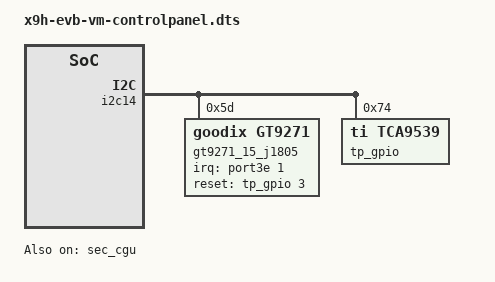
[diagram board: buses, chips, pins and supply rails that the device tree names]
/dts-v1/;

#include "x9-vm.dtsi"
#include "display-xen.dtsi"
#include "clk-xen.dtsi"
#include "lcd-timings-xen.dtsi"
#include "x9-gpu.dtsi"
#include "x9-import.dtsi"
#include "./x9-reset-common.dtsi"


/ {
        reserved-memory {
		   	#address-cells = <0x2>;
		   	#size-cells = <0x2>;
		   	ranges;

			linux,cma {
			    compatible = "shared-dma-pool";
			    reusable;
			    size = <0x0 0x10000000>;
			    linux,cma-default;
			};

                        vm_reserved: vm_shm {
                           compatible = "shared-dma-pool";
                           reg = <0x0 XEN_RESERVED_VM_BASE 0x0 XEN_RESERVED_VM_SIZE>;
                           status = "disabled";
                        };
	};
};

&soc_cgu {
         status = "okay";
};

&sec_cgu {
         status = "okay";
};

&dmac7 {
	status = "okay";
};

&i2c14 {
	status = "okay";
	gt9271_15_j1805:gt9271_15_j1805@5d {
		//pinctrl-names = "default";
		//pinctrl-0 = <&pinctrl_gpiotouch_lvds>;
		compatible = "goodix,gt9271";
                irq-gpios = <&port3e 1 0>;	/*io81*/
		reset-gpios = <&tp_gpio 3 0>;		/*index 3*/
		reg = <0x5d>;
	};

	tp_gpio: gpio@74 {
		compatible = "ti,tca9539";
		reg = <0x74>;
		#gpio-cells = <2>;
		gpio-controller;
	};
};


&pinctrl {
	reg = <0x0 0x37020000 0x0 0x10000>;
};

&gpio3 {
	status = "okay";
};
